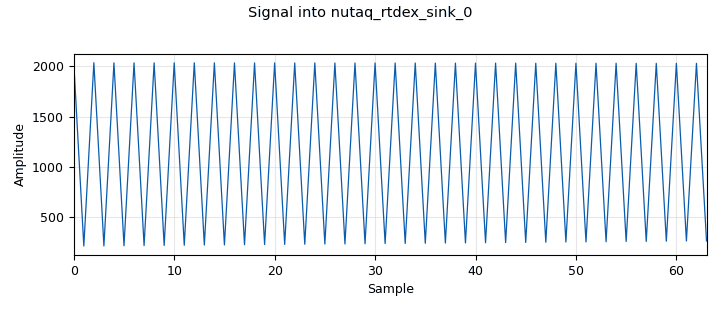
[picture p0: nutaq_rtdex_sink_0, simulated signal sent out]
<?xml version='1.0' encoding='utf-8'?>
<flow_graph>
<block>
<key>options</key>
<param><key>id</key><value>test_transmission_perseus</value></param>
<param><key>title</key><value>Test BPSK with Perseus</value></param>
<param><key>generate_options</key><value>wx_gui</value></param>
<param><key>category</key><value>Custom</value></param>
<param><key>realtime_scheduling</key><value>1</value></param>
</block>
<block>
<key>variable</key>
<param><key>id</key><value>packet_size_gige</value></param>
<param><key>value</key><value>1000</value></param>
</block>
<block>
<key>variable</key>
<param><key>id</key><value>packet_size</value></param>
<param><key>value</key><value>packet_size_gige</value></param>
</block>
<block>
<key>variable</key>
<param><key>id</key><value>RF_freq</value></param>
<param><key>value</key><value>3e9</value></param>
</block>
<block>
<key>variable</key>
<param><key>id</key><value>samp_rate</value></param>
<param><key>value</key><value>30.72e6/2</value></param>
</block>
<block>
<key>nutaq_custom_register</key>
<param><key>id</key><value>nutaq_custom_register_0</value></param>
<param><key>target_id</key><value>nutaq_carrier_perseus_TX</value></param>
<param><key>block_priority</key><value>4</value></param>
<param><key>index</key><value>1</value></param>
<param><key>value</key><value>3</value></param>
<param><key>update_rate</key><value>1</value></param>
</block>
<block>
<key>nutaq_custom_register</key>
<param><key>id</key><value>nutaq_custom_register_0_1_1</value></param>
<param><key>target_id</key><value>nutaq_carrier_perseus_TX</value></param>
<param><key>block_priority</key><value>9</value></param>
<param><key>index</key><value>6</value></param>
<param><key>value</key><value>820</value></param>
<param><key>update_rate</key><value>1</value></param>
</block>
<block>
<key>digital_dxpsk_demod</key>
<param><key>id</key><value>digital_dxpsk_demod_0</value></param>
<param><key>_enabled</key><value>False</value></param>
<param><key>type</key><value>dbpsk</value></param>
<param><key>samples_per_symbol</key><value>20</value></param>
<param><key>excess_bw</key><value>0.55</value></param>
<param><key>freq_bw</key><value>6.28/100.0</value></param>
<param><key>phase_bw</key><value>6.28/100.0</value></param>
<param><key>timing_bw</key><value>6.28/100.0</value></param>
<param><key>mod_code</key><value>"gray"</value></param>
<param><key>verbose</key><value>False</value></param>
<param><key>log</key><value>False</value></param>
<param><key>sync_out</key><value>True</value></param>
</block>
<block>
<key>DataConversion_audio_fuentes</key>
<param><key>id</key><value>DataConversion_audio_fuentes_0</value></param>
<param><key>_enabled</key><value>False</value></param>
</block>
<block>
<key>analog_const_source_x</key>
<param><key>id</key><value>analog_const_source_x_1</value></param>
<param><key>_enabled</key><value>False</value></param>
<param><key>type</key><value>float</value></param>
<param><key>const</key><value>0</value></param>
</block>
<block>
<key>blocks_interleave</key>
<param><key>id</key><value>blocks_interleave_0</value></param>
<param><key>type</key><value>short</value></param>
</block>
<block>
<key>qtgui_time_sink_x</key>
<param><key>id</key><value>qtgui_time_sink_x_0</value></param>
<param><key>_enabled</key><value>False</value></param>
<param><key>type</key><value>complex</value></param>
<param><key>name</key><value>QT GUI Plot</value></param>
<param><key>size</key><value>1024</value></param>
<param><key>srate</key><value>samp_rate</value></param>
</block>
<block>
<key>qtgui_freq_sink_x</key>
<param><key>id</key><value>qtgui_freq_sink_x_0</value></param>
<param><key>_enabled</key><value>False</value></param>
<param><key>type</key><value>complex</value></param>
<param><key>name</key><value>QT GUI Plot</value></param>
<param><key>fftsize</key><value>1024</value></param>
<param><key>wintype</key><value>firdes.WIN_BLACKMAN_hARRIS</value></param>
<param><key>fc</key><value>0</value></param>
<param><key>bw</key><value>samp_rate</value></param>
</block>
<block>
<key>digital_dxpsk_mod</key>
<param><key>id</key><value>digital_dxpsk_mod_0</value></param>
<param><key>_enabled</key><value>False</value></param>
<param><key>type</key><value>dbpsk</value></param>
<param><key>samples_per_symbol</key><value>20</value></param>
<param><key>excess_bw</key><value>0.55</value></param>
<param><key>mod_code</key><value>"none"</value></param>
<param><key>verbose</key><value>True</value></param>
<param><key>log</key><value>False</value></param>
</block>
<block>
<key>nutaq_custom_register</key>
<param><key>id</key><value>nutaq_custom_register_0_1</value></param>
<param><key>target_id</key><value>nutaq_carrier_perseus_TX</value></param>
<param><key>block_priority</key><value>6</value></param>
<param><key>index</key><value>0</value></param>
<param><key>value</key><value>0</value></param>
<param><key>update_rate</key><value>1</value></param>
</block>
<block>
<key>qtgui_time_sink_x</key>
<param><key>id</key><value>qtgui_time_sink_x_0_0</value></param>
<param><key>_enabled</key><value>False</value></param>
<param><key>type</key><value>complex</value></param>
<param><key>name</key><value>QT GUI Plot</value></param>
<param><key>size</key><value>1024</value></param>
<param><key>srate</key><value>samp_rate</value></param>
</block>
<block>
<key>nutaq_custom_register</key>
<param><key>id</key><value>nutaq_custom_register_0_1_0</value></param>
<param><key>target_id</key><value>nutaq_carrier_perseus_TX</value></param>
<param><key>block_priority</key><value>7</value></param>
<param><key>index</key><value>2</value></param>
<param><key>value</key><value>00000</value></param>
<param><key>update_rate</key><value>1</value></param>
</block>
<block>
<key>nutaq_custom_register</key>
<param><key>id</key><value>nutaq_custom_register_0_0_0</value></param>
<param><key>target_id</key><value>nutaq_carrier_perseus_TX</value></param>
<param><key>block_priority</key><value>8</value></param>
<param><key>index</key><value>3</value></param>
<param><key>value</key><value>7</value></param>
<param><key>update_rate</key><value>1</value></param>
</block>
<block>
<key>nutaq_custom_register</key>
<param><key>id</key><value>nutaq_custom_register_0_0</value></param>
<param><key>target_id</key><value>nutaq_carrier_perseus_TX</value></param>
<param><key>block_priority</key><value>5</value></param>
<param><key>index</key><value>4</value></param>
<param><key>value</key><value>0</value></param>
<param><key>update_rate</key><value>1</value></param>
</block>
<block>
<key>blocks_float_to_short</key>
<param><key>id</key><value>blocks_float_to_short_0_0_0</value></param>
<param><key>scale</key><value>2**11-1</value></param>
</block>
<block>
<key>blocks_float_to_short</key>
<param><key>id</key><value>blocks_float_to_short_0_0</value></param>
<param><key>scale</key><value>2**11-1</value></param>
</block>
<block>
<key>nutaq_radio420_tx</key>
<param><key>id</key><value>nutaq_radio420_tx_0_0</value></param>
<param><key>_enabled</key><value>False</value></param>
<param><key>target_id</key><value>nutaq_carrier_perseus_TX</value></param>
<param><key>block_priority</key><value>1</value></param>
<param><key>selected_card</key><value>2</value></param>
<param><key>enable</key><value>1</value></param>
<param><key>reference</key><value>0</value></param>
<param><key>tx_freq</key><value>RF_freq</value></param>
<param><key>datarate</key><value>samp_rate*2</value></param>
<param><key>calibrate</key><value>0</value></param>
<param><key>band</key><value>1</value></param>
<param><key>update_rate</key><value>1</value></param>
<param><key>tx_vga1_gain</key><value>-10</value></param>
<param><key>tx_vga2_gain</key><value>15</value></param>
<param><key>tx_gain3</key><value>3</value></param>
<param><key>tx_lpf_bandwidth</key><value>1</value></param>
<param><key>ref_clk_ctrl</key><value>0</value></param>
<param><key>rf_ctrl</key><value>0</value></param>
<param><key>tx_gain_ctrl</key><value>0</value></param>
<param><key>pll_cpld_ctrl</key><value>0</value></param>
</block>
<block>
<key>nutaq_radio420_rx</key>
<param><key>id</key><value>nutaq_radio420_rx_0_0</value></param>
<param><key>_enabled</key><value>False</value></param>
<param><key>target_id</key><value>nutaq_carrier_perseus_TX</value></param>
<param><key>block_priority</key><value>3</value></param>
<param><key>selected_card</key><value>2</value></param>
<param><key>enable</key><value>1</value></param>
<param><key>reference</key><value>0</value></param>
<param><key>rx_freq</key><value>RF_freq</value></param>
<param><key>datarate</key><value>samp_rate*2</value></param>
<param><key>calibrate</key><value>0</value></param>
<param><key>band</key><value>1</value></param>
<param><key>update_rate</key><value>1</value></param>
<param><key>rx_lna_gain</key><value>2</value></param>
<param><key>rx_vga1_gain</key><value>2</value></param>
<param><key>rx_gain2</key><value>0</value></param>
<param><key>rx_gain3</key><value>-8</value></param>
<param><key>rx_lpf_bandwidth</key><value>1</value></param>
<param><key>rx_rf_filter</key><value>2</value></param>
<param><key>ref_clk_ctrl</key><value>0</value></param>
<param><key>rf_ctrl</key><value>0</value></param>
<param><key>rx_gain_ctrl</key><value>0</value></param>
<param><key>pll_cpld_ctrl</key><value>0</value></param>
</block>
<block>
<key>nutaq_rtdex_sink</key>
<param><key>id</key><value>nutaq_rtdex_sink_0</value></param>
<param><key>target_id</key><value>nutaq_carrier_perseus_TX</value></param>
<param><key>block_priority</key><value>2</value></param>
<param><key>type</key><value>short</value></param>
<param><key>media_type</key><value>0</value></param>
<param><key>packet_size</key><value>packet_size</value></param>
<param><key>num_chan</key><value>1</value></param>
<param><key>channels</key><value>1</value></param>
</block>
<block>
<key>nutaq_radio420_rx</key>
<param><key>id</key><value>nutaq_radio420_rx_0</value></param>
<param><key>target_id</key><value>nutaq_carrier_perseus_TX</value></param>
<param><key>block_priority</key><value>2</value></param>
<param><key>selected_card</key><value>1</value></param>
<param><key>enable</key><value>1</value></param>
<param><key>reference</key><value>0</value></param>
<param><key>rx_freq</key><value>RF_freq</value></param>
<param><key>datarate</key><value>samp_rate*2</value></param>
<param><key>calibrate</key><value>0</value></param>
<param><key>band</key><value>1</value></param>
<param><key>update_rate</key><value>1</value></param>
<param><key>rx_lna_gain</key><value>2</value></param>
<param><key>rx_vga1_gain</key><value>2</value></param>
<param><key>rx_gain2</key><value>0</value></param>
<param><key>rx_gain3</key><value>-8</value></param>
<param><key>rx_lpf_bandwidth</key><value>1</value></param>
<param><key>rx_rf_filter</key><value>2</value></param>
<param><key>ref_clk_ctrl</key><value>0</value></param>
<param><key>rf_ctrl</key><value>0</value></param>
<param><key>rx_gain_ctrl</key><value>0</value></param>
<param><key>pll_cpld_ctrl</key><value>0</value></param>
</block>
<block>
<key>blocks_file_sink</key>
<param><key>id</key><value>blocks_file_sink_0_0</value></param>
<param><key>_enabled</key><value>False</value></param>
<param><key>file</key><value>/home/juan/GNURC_apps/binario.bin</value></param>
<param><key>type</key><value>byte</value></param>
</block>
<block>
<key>blocks_complex_to_float</key>
<param><key>id</key><value>blocks_complex_to_float_0</value></param>
</block>
<block>
<key>wxgui_scopesink2</key>
<param><key>id</key><value>wxgui_scopesink2_0</value></param>
<param><key>_enabled</key><value>False</value></param>
<param><key>type</key><value>complex</value></param>
<param><key>title</key><value>Scope Plot</value></param>
<param><key>samp_rate</key><value>samp_rate/490</value></param>
<param><key>v_scale</key><value>0</value></param>
<param><key>v_offset</key><value>0</value></param>
<param><key>t_scale</key><value>0</value></param>
<param><key>ac_couple</key><value>False</value></param>
<param><key>xy_mode</key><value>False</value></param>
<param><key>num_inputs</key><value>1</value></param>
<param><key>trig_mode</key><value>wxgui.TRIG_MODE_AUTO</value></param>
<param><key>y_axis_label</key><value>Counts</value></param>
</block>
<block>
<key>analog_sig_source_x</key>
<param><key>id</key><value>analog_sig_source_x_0</value></param>
<param><key>type</key><value>complex</value></param>
<param><key>samp_rate</key><value>samp_rate/40</value></param>
<param><key>waveform</key><value>analog.GR_SIN_WAVE</value></param>
<param><key>freq</key><value>variable_slider_0</value></param>
<param><key>amp</key><value>1</value></param>
<param><key>offset</key><value>0</value></param>
</block>
<block>
<key>variable_slider</key>
<param><key>id</key><value>variable_slider_0</value></param>
<param><key>label</key><value></value></param>
<param><key>value</key><value>50</value></param>
<param><key>min</key><value>-50000</value></param>
<param><key>max</key><value>50000</value></param>
<param><key>num_steps</key><value>1000</value></param>
<param><key>style</key><value>wx.SL_HORIZONTAL</value></param>
<param><key>converver</key><value>float_converter</value></param>
</block>
<block>
<key>nutaq_carrier_perseus</key>
<param><key>id</key><value>nutaq_carrier_perseus_TX</value></param>
<param><key>ip_addr</key><value>192.168.0.102</value></param>
</block>
<block>
<key>variable_slider</key>
<param><key>id</key><value>variable_slider_0_0</value></param>
<param><key>label</key><value></value></param>
<param><key>value</key><value>100e3</value></param>
<param><key>min</key><value>-500000</value></param>
<param><key>max</key><value>500000</value></param>
<param><key>num_steps</key><value>1000</value></param>
<param><key>style</key><value>wx.SL_HORIZONTAL</value></param>
<param><key>converver</key><value>float_converter</value></param>
</block>
<block>
<key>blocks_float_to_int</key>
<param><key>id</key><value>blocks_float_to_int_0_0</value></param>
<param><key>scale</key><value>1</value></param>
</block>
<block>
<key>blocks_float_to_int</key>
<param><key>id</key><value>blocks_float_to_int_0</value></param>
<param><key>scale</key><value>1</value></param>
</block>
<block>
<key>analog_const_source_x</key>
<param><key>id</key><value>analog_const_source_x_0_0</value></param>
<param><key>type</key><value>float</value></param>
<param><key>const</key><value>variable_slider_0_0*(2**32)/samp_rate</value></param>
</block>
<block>
<key>analog_const_source_x</key>
<param><key>id</key><value>analog_const_source_x_0</value></param>
<param><key>type</key><value>float</value></param>
<param><key>const</key><value>variable_slider_0_0*(2**32)/samp_rate</value></param>
<param><key>minoutbuf</key><value>00000</value></param>
</block>
<block>
<key>qtgui_freq_sink_x</key>
<param><key>id</key><value>qtgui_freq_sink_x_0_0</value></param>
<param><key>_enabled</key><value>False</value></param>
<param><key>type</key><value>complex</value></param>
<param><key>name</key><value>QT GUI Plot</value></param>
<param><key>fftsize</key><value>1024</value></param>
<param><key>wintype</key><value>firdes.WIN_BLACKMAN_hARRIS</value></param>
<param><key>fc</key><value>0</value></param>
<param><key>bw</key><value>samp_rate</value></param>
</block>
<block>
<key>blocks_short_to_float</key>
<param><key>id</key><value>blocks_short_to_float_0</value></param>
<param><key>scale</key><value>2**11-1</value></param>
</block>
<block>
<key>blocks_short_to_float</key>
<param><key>id</key><value>blocks_short_to_float_0_0</value></param>
<param><key>scale</key><value>2**11-1</value></param>
</block>
<block>
<key>blocks_deinterleave</key>
<param><key>id</key><value>blocks_deinterleave_0</value></param>
<param><key>type</key><value>short</value></param>
</block>
<block>
<key>blocks_throttle</key>
<param><key>id</key><value>blocks_throttle_0</value></param>
<param><key>_enabled</key><value>False</value></param>
<param><key>type</key><value>complex</value></param>
<param><key>samples_per_second</key><value>samp_rate</value></param>
</block>
<block>
<key>nutaq_radio420_tx</key>
<param><key>id</key><value>nutaq_radio420_tx_0</value></param>
<param><key>target_id</key><value>nutaq_carrier_perseus_TX</value></param>
<param><key>block_priority</key><value>0</value></param>
<param><key>selected_card</key><value>1</value></param>
<param><key>enable</key><value>1</value></param>
<param><key>reference</key><value>0</value></param>
<param><key>tx_freq</key><value>RF_freq</value></param>
<param><key>datarate</key><value>samp_rate*2</value></param>
<param><key>calibrate</key><value>0</value></param>
<param><key>band</key><value>1</value></param>
<param><key>update_rate</key><value>1</value></param>
<param><key>tx_vga1_gain</key><value>-10</value></param>
<param><key>tx_vga2_gain</key><value>15</value></param>
<param><key>tx_gain3</key><value>3</value></param>
<param><key>tx_lpf_bandwidth</key><value>1</value></param>
<param><key>ref_clk_ctrl</key><value>0</value></param>
<param><key>rf_ctrl</key><value>0</value></param>
<param><key>tx_gain_ctrl</key><value>1</value></param>
<param><key>pll_cpld_ctrl</key><value>0</value></param>
</block>
<block>
<key>blocks_float_to_complex</key>
<param><key>id</key><value>blocks_float_to_complex_0</value></param>
</block>
<block>
<key>DataConversion_imprimir2</key>
<param><key>id</key><value>DataConversion_imprimir2_0</value></param>
</block>
<block>
<key>blocks_null_sink</key>
<param><key>id</key><value>blocks_null_sink_0</value></param>
<param><key>type</key><value>complex</value></param>
<param><key>bus_conns</key><value>[[0,],]</value></param>
</block>
<block>
<key>nutaq_rtdex_source</key>
<param><key>id</key><value>nutaq_rtdex_source_0</value></param>
<param><key>target_id</key><value>nutaq_carrier_perseus_TX</value></param>
<param><key>block_priority</key><value>0</value></param>
<param><key>type</key><value>short</value></param>
<param><key>media_type</key><value>0</value></param>
<param><key>packet_size</key><value>8192</value></param>
<param><key>num_chan</key><value>1</value></param>
<param><key>channels</key><value>3</value></param>
</block>
<connection><source_block_id>blocks_float_to_complex_0</source_block_id><sink_block_id>digital_dxpsk_demod_0</sink_block_id><source_key>0</source_key><sink_key>0</sink_key></connection>
<connection><source_block_id>digital_dxpsk_demod_0</source_block_id><sink_block_id>blocks_file_sink_0_0</sink_block_id><source_key>0</source_key><sink_key>0</sink_key></connection>
<connection><source_block_id>blocks_float_to_complex_0</source_block_id><sink_block_id>qtgui_time_sink_x_0</sink_block_id><source_key>0</source_key><sink_key>0</sink_key></connection>
<connection><source_block_id>analog_const_source_x_1</source_block_id><sink_block_id>DataConversion_audio_fuentes_0</sink_block_id><source_key>0</source_key><sink_key>0</sink_key></connection>
<connection><source_block_id>digital_dxpsk_mod_0</source_block_id><sink_block_id>qtgui_time_sink_x_0_0</sink_block_id><source_key>0</source_key><sink_key>0</sink_key></connection>
<connection><source_block_id>blocks_complex_to_float_0</source_block_id><sink_block_id>blocks_float_to_short_0_0</sink_block_id><source_key>0</source_key><sink_key>0</sink_key></connection>
<connection><source_block_id>blocks_float_to_short_0_0_0</source_block_id><sink_block_id>blocks_interleave_0</sink_block_id><source_key>0</source_key><sink_key>1</sink_key></connection>
<connection><source_block_id>blocks_complex_to_float_0</source_block_id><sink_block_id>blocks_float_to_short_0_0_0</sink_block_id><source_key>1</source_key><sink_key>0</sink_key></connection>
<connection><source_block_id>blocks_float_to_short_0_0</source_block_id><sink_block_id>blocks_interleave_0</sink_block_id><source_key>0</source_key><sink_key>0</sink_key></connection>
<connection><source_block_id>blocks_interleave_0</source_block_id><sink_block_id>nutaq_rtdex_sink_0</sink_block_id><source_key>0</source_key><sink_key>0</sink_key></connection>
<connection><source_block_id>analog_sig_source_x_0</source_block_id><sink_block_id>blocks_complex_to_float_0</sink_block_id><source_key>0</source_key><sink_key>0</sink_key></connection>
<connection><source_block_id>analog_sig_source_x_0</source_block_id><sink_block_id>qtgui_time_sink_x_0_0</sink_block_id><source_key>0</source_key><sink_key>0</sink_key></connection>
<connection><source_block_id>blocks_float_to_complex_0</source_block_id><sink_block_id>qtgui_freq_sink_x_0</sink_block_id><source_key>0</source_key><sink_key>0</sink_key></connection>
<connection><source_block_id>analog_const_source_x_0</source_block_id><sink_block_id>blocks_float_to_int_0</sink_block_id><source_key>0</source_key><sink_key>0</sink_key></connection>
<connection><source_block_id>analog_const_source_x_0_0</source_block_id><sink_block_id>blocks_float_to_int_0_0</sink_block_id><source_key>0</source_key><sink_key>0</sink_key></connection>
<connection><source_block_id>blocks_float_to_int_0</source_block_id><sink_block_id>nutaq_custom_register_0_1</sink_block_id><source_key>0</source_key><sink_key>0</sink_key></connection>
<connection><source_block_id>blocks_float_to_int_0_0</source_block_id><sink_block_id>nutaq_custom_register_0_1_0</sink_block_id><source_key>0</source_key><sink_key>0</sink_key></connection>
<connection><source_block_id>analog_sig_source_x_0</source_block_id><sink_block_id>wxgui_scopesink2_0</sink_block_id><source_key>0</source_key><sink_key>0</sink_key></connection>
<connection><source_block_id>digital_dxpsk_mod_0</source_block_id><sink_block_id>blocks_complex_to_float_0</sink_block_id><source_key>0</source_key><sink_key>0</sink_key></connection>
<connection><source_block_id>blocks_short_to_float_0_0</source_block_id><sink_block_id>blocks_float_to_complex_0</sink_block_id><source_key>0</source_key><sink_key>1</sink_key></connection>
<connection><source_block_id>blocks_short_to_float_0</source_block_id><sink_block_id>blocks_float_to_complex_0</sink_block_id><source_key>0</source_key><sink_key>0</sink_key></connection>
<connection><source_block_id>nutaq_rtdex_source_0</source_block_id><sink_block_id>blocks_deinterleave_0</sink_block_id><source_key>0</source_key><sink_key>0</sink_key></connection>
<connection><source_block_id>blocks_deinterleave_0</source_block_id><sink_block_id>blocks_short_to_float_0_0</sink_block_id><source_key>1</source_key><sink_key>0</sink_key></connection>
<connection><source_block_id>analog_sig_source_x_0</source_block_id><sink_block_id>qtgui_freq_sink_x_0_0</sink_block_id><source_key>0</source_key><sink_key>0</sink_key></connection>
<connection><source_block_id>blocks_deinterleave_0</source_block_id><sink_block_id>blocks_short_to_float_0</sink_block_id><source_key>0</source_key><sink_key>0</sink_key></connection>
<connection><source_block_id>blocks_float_to_complex_0</source_block_id><sink_block_id>DataConversion_imprimir2_0</sink_block_id><source_key>0</source_key><sink_key>0</sink_key></connection>
<connection><source_block_id>DataConversion_imprimir2_0</source_block_id><sink_block_id>blocks_null_sink_0</sink_block_id><source_key>0</source_key><sink_key>0</sink_key></connection>
</flow_graph>
